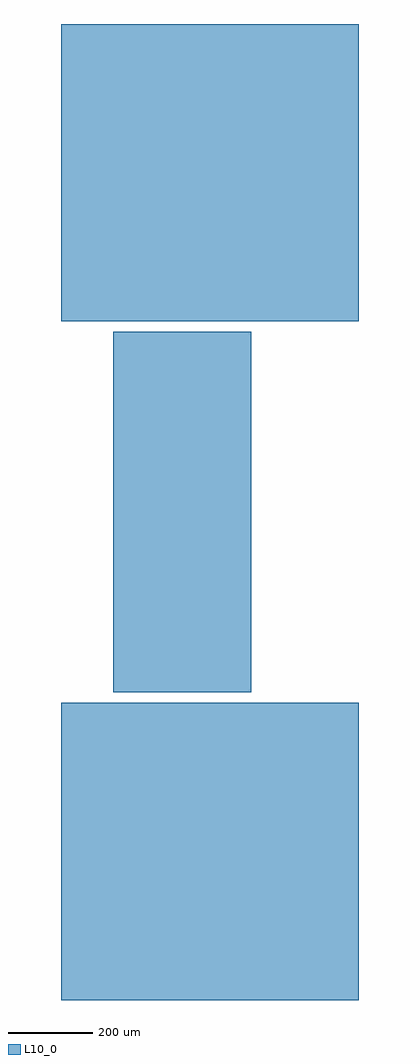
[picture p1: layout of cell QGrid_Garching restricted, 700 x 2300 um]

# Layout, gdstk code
import gdstk
lib = gdstk.Library(unit=1e-6, precision=1e-09)
def R(c, l, rs):  # rectangles x0, y0, x1, y1
    for r in rs: c.add(gdstk.rectangle(r[:2], r[2:], *l))
L10_0 = (10, 0)

qgrid_garching_restricte = lib.new_cell('QGrid_Garching restricted')
R(qgrid_garching_restricte, L10_0, [(1700,1650,2400,2350), (1700,1650,2400,2350), (1822.5,2375,2147.5,3225), (1822.5,2375,2147.5,3225), (1700,3250,2400,3950), (1700,3250,2400,3950)])

lib.write_gds('QGrid_Garching_restricted.gds')
